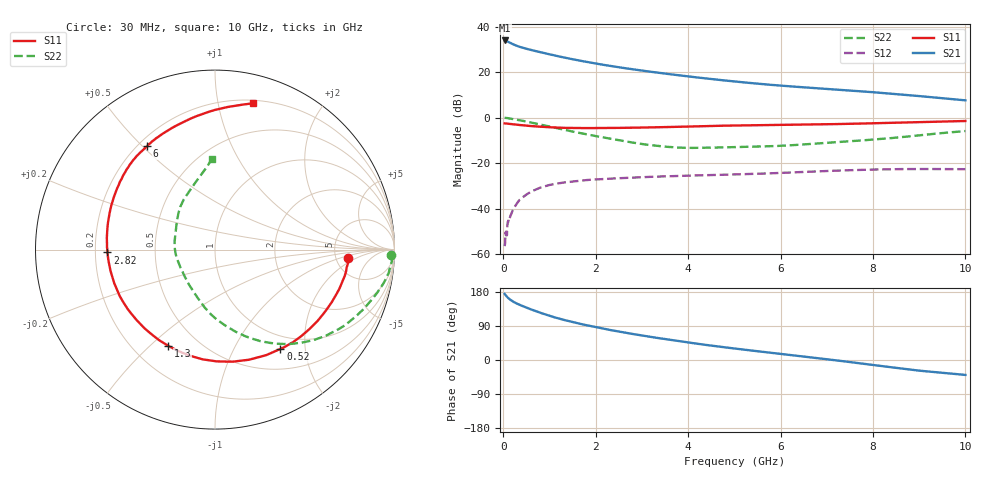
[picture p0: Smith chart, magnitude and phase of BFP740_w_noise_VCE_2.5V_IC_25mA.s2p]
! Infineon Technologies  Discrete & RF Semiconductors
! BFP740
! VCE =  2.5 V,  IC =  25 mA
! Common Emitter S-Parameters:  Jan 2016
# GHz  S  MA  R  50
!  f  S11  S21  S12  S22
! GHz  MAG  ANG  MAG  ANG  MAG  ANG  MAG  ANG
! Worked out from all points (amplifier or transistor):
!   229 points, 30 MHz to 10 GHz, reference 50 ohm
!   highest |S21| = 33.9 dB at 30 MHz (marker M1)
!   |S21| within 3 dB of that: start of sweep to 388.1 MHz
!   unconditionally stable (mu >= 1): 5.993 GHz to end of sweep
!   at 280 MHz: K = 0.26, MSG = 34.9 dB, |S12| = -38.2 dB
!   at 1.78 GHz: K = 0.48, MSG = 26.0 dB, |S12| = -27.5 dB
!   at 10 GHz: K = 1.01, MAG = 14.5 dB, |S12| = -22.7 dB
!   lowest NFmin = 0.78 dB at 450 MHz
!   S11 on the Smith chart (normalised r, x): 30 MHz: 6.50, -1.44; 520 MHz: 0.79, -1.56; 1.3 GHz: 0.34, -0.57; 2.82 GHz: 0.25, -0.01; 6 GHz: 0.24, +0.52; 10 GHz: 0.23, +1.26
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0.03  0.7445 -3.8  49.38 174.6  0.0015 106.2  0.9836 -1.9
0.065  0.7401 -8.5  48.28 169.1  0.0031 76.2  0.9819 -5.3
0.11  0.7319 -14.1  45.99 163.3  0.0051 87.0  0.969 -9.2
0.15  0.7238 -18.8  43.72 159.2  0.0067 84.0  0.9519 -12.2
0.195  0.7141 -23.7  41.5 155.4  0.0087 78.7  0.9329 -15.3
0.32  0.6922 -36.9  36.81 147.5  0.0141 71.8  0.8848 -22.8
0.4  0.6808 -45.1  34.67 143.2  0.0171 68.6  0.8554 -27.4
0.52  0.6625 -56.6  32.1 137.4  0.021 63.8  0.8109 -33.8
0.7  0.6423 -72.8  28.89 129.1  0.0263 56.5  0.7446 -42.7
0.9  0.6228 -89.2  25.93 120.6  0.0311 50.1  0.6702 -51.7
1.1  0.6076 -103.4  23.28 113.0  0.0347 44.5  0.6025 -59.6
1.3  0.5961 -116.0  21.01 106.2  0.0374 40.1  0.543 -66.7
1.7  0.5875 -137.1  17.47 94.4  0.0413 33.3  0.4482 -79.0
2.2  0.5903 -158.0  14.23 81.8  0.0449 27.4  0.3606 -93.7
2.82  0.5992 -178.5  11.42 68.3  0.0483 22.5  0.2806 -111.2
3.4  0.6148 165.9  9.524 57.1  0.0508 18.7  0.2359 -131.0
4.2  0.6431 148.1  7.596 42.9  0.0537 14.3  0.2164 -160.3
5.1  0.6725 133.7  6.071 28.9  0.0568 10.8  0.2259 174.8
6  0.6891 123.4  5.038 16.3  0.0611 7.8  0.2399 155.8
6.8  0.7085 114.3  4.389 5.0  0.066 3.7  0.2686 141.5
8.4  0.7689 92.5  3.347 -19.2  0.0735 -7.5  0.3546 114.0
10  0.841 75.6  2.391 -39.4  0.0736 -17.3  0.5059 92.0
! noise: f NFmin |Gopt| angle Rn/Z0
0.45  0.78  0.07  178  0.26
0.9  0.79  0.08  -174  0.26
1.5  0.81  0.08  -169  0.25
1.9  0.82  0.09  -163  0.24
2.4  0.85  0.09  -156  0.23
3.5  0.95  0.1  -144  0.21
5.5  1.11  0.22  -105  0.19
10  1.46  0.52  -65  0.28
